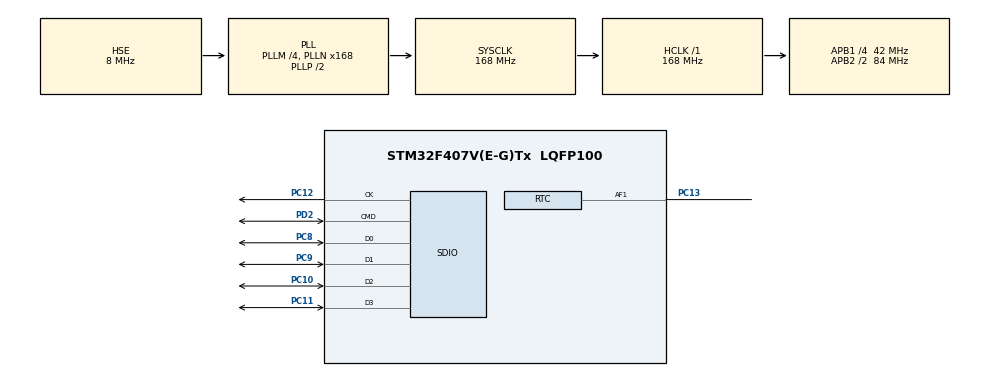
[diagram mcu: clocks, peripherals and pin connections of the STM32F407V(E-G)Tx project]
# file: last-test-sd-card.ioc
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Dma.Request0=SDIO_RX
Dma.Request1=SDIO_TX
Dma.SDIO_RX.0.Direction=DMA_PERIPH_TO_MEMORY
Dma.SDIO_RX.0.FIFOMode=DMA_FIFOMODE_ENABLE
Dma.SDIO_RX.0.FIFOThreshold=DMA_FIFO_THRESHOLD_FULL
Dma.SDIO_RX.0.Instance=DMA2_Stream3
Dma.SDIO_RX.0.MemBurst=DMA_MBURST_INC4
Dma.SDIO_RX.0.MemDataAlignment=DMA_MDATAALIGN_WORD
Dma.SDIO_RX.0.MemInc=DMA_MINC_ENABLE
Dma.SDIO_RX.0.Mode=DMA_PFCTRL
Dma.SDIO_RX.0.PeriphBurst=DMA_PBURST_INC4
Dma.SDIO_RX.0.PeriphDataAlignment=DMA_PDATAALIGN_WORD
Dma.SDIO_RX.0.PeriphInc=DMA_PINC_DISABLE
Dma.SDIO_RX.0.Priority=DMA_PRIORITY_LOW
Dma.SDIO_TX.1.Direction=DMA_MEMORY_TO_PERIPH
Dma.SDIO_TX.1.FIFOMode=DMA_FIFOMODE_ENABLE
Dma.SDIO_TX.1.FIFOThreshold=DMA_FIFO_THRESHOLD_FULL
Dma.SDIO_TX.1.Instance=DMA2_Stream6
Dma.SDIO_TX.1.MemBurst=DMA_MBURST_INC4
Dma.SDIO_TX.1.MemDataAlignment=DMA_MDATAALIGN_WORD
Dma.SDIO_TX.1.MemInc=DMA_MINC_ENABLE
Dma.SDIO_TX.1.Mode=DMA_PFCTRL
Dma.SDIO_TX.1.PeriphBurst=DMA_PBURST_INC4
Dma.SDIO_TX.1.PeriphDataAlignment=DMA_PDATAALIGN_WORD
Dma.SDIO_TX.1.PeriphInc=DMA_PINC_DISABLE
Dma.SDIO_TX.1.Priority=DMA_PRIORITY_LOW
FATFS.USE_DMA_CODE_SD=1
Mcu.Family=STM32F4
Mcu.Name=STM32F407V(E-G)Tx
Mcu.Package=LQFP100
NVIC.DMA2_Stream3_IRQn=true\:0\:0\:false\:false\:true\:false\:true\:true
NVIC.DMA2_Stream6_IRQn=true\:0\:0\:false\:false\:true\:false\:true\:true
NVIC.PriorityGroup=NVIC_PRIORITYGROUP_4
NVIC.SDIO_IRQn=true\:0\:0\:false\:false\:true\:true\:true\:true
PC10.Mode=SD_4_bits_Wide_bus
PC10.Signal=SDIO_D2
PC11.Mode=SD_4_bits_Wide_bus
PC11.Signal=SDIO_D3
PC12.Mode=SD_4_bits_Wide_bus
PC12.Signal=SDIO_CK
PC13-ANTI_TAMP.Mode=Timestamp enabled - Input Enabled to AF1
PC13-ANTI_TAMP.Signal=RTC_AF1
PC14-OSC32_IN.Mode=LSE-External-Oscillator
PC14-OSC32_IN.Signal=RCC_OSC32_IN
PC15-OSC32_OUT.Mode=LSE-External-Oscillator
PC15-OSC32_OUT.Signal=RCC_OSC32_OUT
PC8.Mode=SD_4_bits_Wide_bus
PC8.Signal=SDIO_D0
PC9.Mode=SD_4_bits_Wide_bus
PC9.Signal=SDIO_D1
PD2.Mode=SD_4_bits_Wide_bus
PD2.Signal=SDIO_CMD
PH0-OSC_IN.Mode=HSE-External-Oscillator
PH0-OSC_IN.Signal=RCC_OSC_IN
PH1-OSC_OUT.Mode=HSE-External-Oscillator
PH1-OSC_OUT.Signal=RCC_OSC_OUT
ProjectManager.HeapSize=0x200
ProjectManager.StackSize=0x400
ProjectManager.TargetToolchain=STM32CubeIDE
RCC.48MHZClocksFreq_Value=48000000
RCC.AHBFreq_Value=168000000
RCC.APB1CLKDivider=RCC_HCLK_DIV4
RCC.APB1Freq_Value=42000000
RCC.APB1TimFreq_Value=84000000
RCC.APB2CLKDivider=RCC_HCLK_DIV2
RCC.APB2Freq_Value=84000000
RCC.APB2TimFreq_Value=168000000
RCC.CortexFreq_Value=168000000
RCC.HCLKFreq_Value=168000000
RCC.HSE_VALUE=8000000
RCC.HSI_VALUE=16000000
RCC.PLLM=4
RCC.PLLN=168
RCC.PLLQ=7
RCC.PLLSourceVirtual=RCC_PLLSOURCE_HSE
RCC.RCC_RTC_Clock_Source=RCC_RTCCLKSOURCE_LSE
RCC.SYSCLKFreq_VALUE=168000000
RCC.SYSCLKSource=RCC_SYSCLKSOURCE_PLLCLK
RCC.VCOOutputFreq_Value=336000000
RTC.TimeStampPin=RTC_TIMESTAMPPIN_DEFAULT
SDIO.ClockDiv=2
VP_FATFS_VS_SDIO.Mode=SDIO
VP_RTC_VS_RTC_Activate.Mode=RTC_Enabled
VP_RTC_VS_RTC_Calendar.Mode=RTC_Calendar
board=custom

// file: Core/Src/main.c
/* USER CODE BEGIN Header */
/**
  ******************************************************************************
  * @file           : main.c
  * @brief          : Main program body
  ******************************************************************************
  * @attention
  *
  * Copyright (c) 2024 STMicroelectronics.
  * All rights reserved.
  *
  * This software is licensed under terms that can be found in the LICENSE file
  * in the root directory of this software component.
  * If no LICENSE file comes with this software, it is provided AS-IS.
  *
  ******************************************************************************
  */
/* USER CODE END Header */
#include "main.h"
#include "fatfs.h"

/* USER CODE BEGIN Includes */
#include <stdbool.h>
#include <string.h>
#include <stdio.h>
/* USER CODE END Includes */

/* USER CODE BEGIN PTD */
FATFS fs;                 // Work area (file system object) for logical drive
FIL fil;                  // file objects
FILINFO FATFS_info;
char filename[] = "LOGFIL_xx.txt";
char Text[255] ;
uint8_t buff[128];
RTC_TimeTypeDef m_Time;
RTC_DateTypeDef m_Date;
float l_timestamp;
float pre_tick;
volatile uint8_t TamperFlag;

RTC_TimeTypeDef RtcTimeTimeStamp;
RTC_DateTypeDef RtcDateTimeStamp;

uint16_t Milliseconds;
/* USER CODE END PTD */

/* USER CODE BEGIN PD */
void Test_SD_FATFS(void);
int GetNextIndex(void);
/* USER CODE END PD */

RTC_HandleTypeDef hrtc;

SD_HandleTypeDef hsd;
DMA_HandleTypeDef hdma_sdio_rx;
DMA_HandleTypeDef hdma_sdio_tx;

void SystemClock_Config(void);
static void MX_GPIO_Init(void);
static void MX_DMA_Init(void);
static void MX_RTC_Init(void);
static void MX_SDIO_SD_Init(void);

int main(void)
{

  /* MCU Configuration--------------------------------------------------------*/

  /* Reset of all peripherals, Initializes the Flash interface and the Systick. */
  HAL_Init();

  /* Configure the system clock */
  SystemClock_Config();

  /* Initialize all configured peripherals */
  MX_GPIO_Init();
  MX_DMA_Init();
  MX_RTC_Init();
  MX_SDIO_SD_Init();
  MX_FATFS_Init();
  /* USER CODE BEGIN 2 */
  Test_SD_FATFS();
  /* USER CODE END 2 */

  /* Infinite loop */
  while (1)
  {

  }
}

void SystemClock_Config(void)
{
  RCC_OscInitTypeDef RCC_OscInitStruct = {0};
  RCC_ClkInitTypeDef RCC_ClkInitStruct = {0};

  /** Configure the main internal regulator output voltage
  */
  __HAL_RCC_PWR_CLK_ENABLE();
  __HAL_PWR_VOLTAGESCALING_CONFIG(PWR_REGULATOR_VOLTAGE_SCALE1);

  /** Initializes the RCC Oscillators according to the specified parameters
  * in the RCC_OscInitTypeDef structure.
  */
  RCC_OscInitStruct.OscillatorType = RCC_OSCILLATORTYPE_HSE|RCC_OSCILLATORTYPE_LSE;
  RCC_OscInitStruct.HSEState = RCC_HSE_ON;
  RCC_OscInitStruct.LSEState = RCC_LSE_ON;
  RCC_OscInitStruct.PLL.PLLState = RCC_PLL_ON;
  RCC_OscInitStruct.PLL.PLLSource = RCC_PLLSOURCE_HSE;
  RCC_OscInitStruct.PLL.PLLM = 4;
  RCC_OscInitStruct.PLL.PLLN = 168;
  RCC_OscInitStruct.PLL.PLLP = RCC_PLLP_DIV2;
  RCC_OscInitStruct.PLL.PLLQ = 7;
  if (HAL_RCC_OscConfig(&RCC_OscInitStruct) != HAL_OK)
  {
    Error_Handler();
  }

  /** Initializes the CPU, AHB and APB buses clocks
  */
  RCC_ClkInitStruct.ClockType = RCC_CLOCKTYPE_HCLK|RCC_CLOCKTYPE_SYSCLK
                              |RCC_CLOCKTYPE_PCLK1|RCC_CLOCKTYPE_PCLK2;
  RCC_ClkInitStruct.SYSCLKSource = RCC_SYSCLKSOURCE_PLLCLK;
  RCC_ClkInitStruct.AHBCLKDivider = RCC_SYSCLK_DIV1;
  RCC_ClkInitStruct.APB1CLKDivider = RCC_HCLK_DIV4;
  RCC_ClkInitStruct.APB2CLKDivider = RCC_HCLK_DIV2;

  if (HAL_RCC_ClockConfig(&RCC_ClkInitStruct, FLASH_LATENCY_5) != HAL_OK)
  {
    Error_Handler();
  }
}

static void MX_RTC_Init(void)
{

  RTC_TimeTypeDef sTime = {0};
  RTC_DateTypeDef sDate = {0};

  /** Initialize RTC Only
  */
  hrtc.Instance = RTC;
  hrtc.Init.HourFormat = RTC_HOURFORMAT_24;
  hrtc.Init.AsynchPrediv = 127;
  hrtc.Init.SynchPrediv = 255;
  hrtc.Init.OutPut = RTC_OUTPUT_DISABLE;
  hrtc.Init.OutPutPolarity = RTC_OUTPUT_POLARITY_HIGH;
  hrtc.Init.OutPutType = RTC_OUTPUT_TYPE_OPENDRAIN;
  if (HAL_RTC_Init(&hrtc) != HAL_OK)
  {
    Error_Handler();
  }

  /** Initialize RTC and set the Time and Date
  */
  sTime.Hours = 0x0;
  sTime.Minutes = 0x0;
  sTime.Seconds = 0x0;
  sTime.DayLightSaving = RTC_DAYLIGHTSAVING_NONE;
  sTime.StoreOperation = RTC_STOREOPERATION_RESET;
  if (HAL_RTC_SetTime(&hrtc, &sTime, RTC_FORMAT_BCD) != HAL_OK)
  {
    Error_Handler();
  }
  sDate.WeekDay = RTC_WEEKDAY_MONDAY;
  sDate.Month = RTC_MONTH_JANUARY;
  sDate.Date = 0x1;
  sDate.Year = 0x0;

  if (HAL_RTC_SetDate(&hrtc, &sDate, RTC_FORMAT_BCD) != HAL_OK)
  {
    Error_Handler();
  }

  /** Enable the TimeStamp
  */
  if (HAL_RTCEx_SetTimeStamp(&hrtc, RTC_TIMESTAMPEDGE_RISING, RTC_TIMESTAMPPIN_DEFAULT) != HAL_OK)
  {
    Error_Handler();
  }

}

static void MX_SDIO_SD_Init(void)
{

	  hsd.Instance = SDIO;
	  hsd.Init.ClockEdge = SDIO_CLOCK_EDGE_RISING;
	  hsd.Init.ClockBypass = SDIO_CLOCK_BYPASS_DISABLE;
	  hsd.Init.ClockPowerSave = SDIO_CLOCK_POWER_SAVE_DISABLE;
	  hsd.Init.BusWide = SDIO_BUS_WIDE_1B;
	  hsd.Init.HardwareFlowControl = SDIO_HARDWARE_FLOW_CONTROL_DISABLE;
	  hsd.Init.ClockDiv = 2;
	  /* USER CODE BEGIN SDIO_Init 2 */
	  if (HAL_SD_Init(&hsd) != HAL_OK)
	      {
	        Error_Handler();
	      }
	      if (HAL_SD_ConfigWideBusOperation(&hsd, SDIO_BUS_WIDE_4B) != HAL_OK)
	      {
	        Error_Handler();
	      }
	  /* USER CODE END SDIO_Init 2 */
}

static void MX_DMA_Init(void)
{

  /* DMA controller clock enable */
  __HAL_RCC_DMA2_CLK_ENABLE();

  /* DMA interrupt init */
  /* DMA2_Stream3_IRQn interrupt configuration */
  HAL_NVIC_SetPriority(DMA2_Stream3_IRQn, 0, 0);
  HAL_NVIC_EnableIRQ(DMA2_Stream3_IRQn);
  /* DMA2_Stream6_IRQn interrupt configuration */
  HAL_NVIC_SetPriority(DMA2_Stream6_IRQn, 0, 0);
  HAL_NVIC_EnableIRQ(DMA2_Stream6_IRQn);

}

static void MX_GPIO_Init(void)
{

  /* GPIO Ports Clock Enable */
  __HAL_RCC_GPIOC_CLK_ENABLE();
  __HAL_RCC_GPIOH_CLK_ENABLE();
  __HAL_RCC_GPIOD_CLK_ENABLE();

}

/* USER CODE BEGIN 4 */
void Test_SD_FATFS(void) {

	UINT BytesW, BytesR; //File read/write count
//	char testBuffer[200] = { 0 };
//	printf("\n\r\tTest presence de la carte SD \n\r");
	if (f_mount(&SDFatFS, SDPath, 1) == FR_OK) {
		sprintf(filename, "test.txt");

		f_open(&SDFile, filename, FA_OPEN_ALWAYS | FA_READ);
		f_read(&SDFile, buff, sizeof(buff), &BytesR); /* Read a chunk of file */
		buff[BytesR] = 0;
//		printf("\n\r\t%s", buff);
		f_close(&SDFile);

		sprintf(Text,"%s\nThis is a program testing SD Card and new",buff);

		f_open(&SDFile, filename, FA_OPEN_ALWAYS | FA_WRITE);
//		printf("\n\r\tOuverture du fichier LOGFIL%02d.txt", index);
		f_write(&SDFile, Text, strlen(Text), &BytesW);
		f_close(&SDFile);

//		printf("\n\r\tfermeture du fichier LOGFIL%02d.txt", index);
	} else {
//		printf("\n\r\tError carte SD\n\r");
	}
}

int GetNextIndex() {
	FILINFO fno;
// Construct the filename to be the next incrementally indexed filename in the set [00-99].
	for (int i = 0; i < 100; i++) {
		sprintf(filename, "LOGFIL%02d.txt", i);
		// check before modifying target filename.
		if (f_stat(filename, &fno) == FR_OK) {
			printf("\tFile LOGFIL%02d.txt is already exist!\n\r", i);
			printf("\tTry to overridely create a new file\n\r");
		} else {
			printf("\n\r\tNew File LOGFIL%02d.txt is created\n\r", i);
			return (i);
		}
	}
	return (0);
}
/* USER CODE END 4 */

void Error_Handler(void)
{
  __disable_irq();
  while (1)
  {
  }
}
